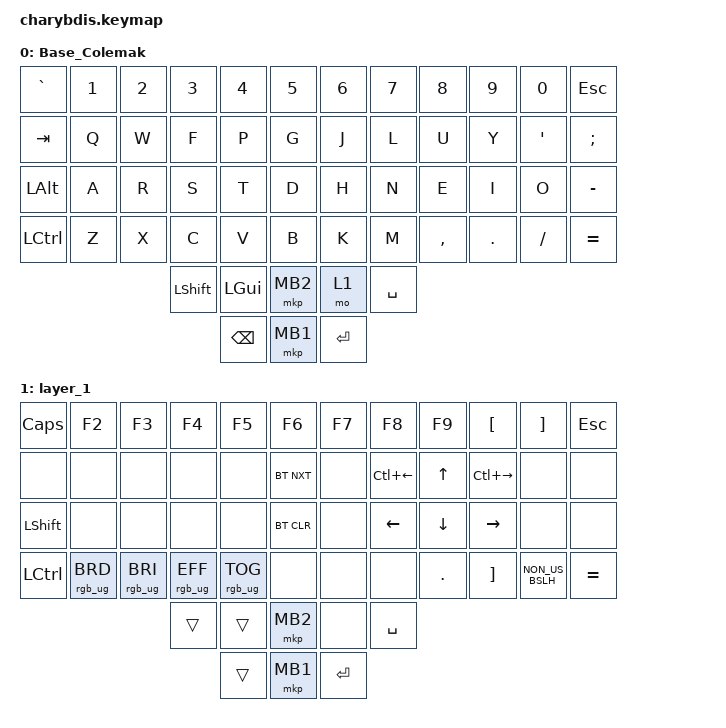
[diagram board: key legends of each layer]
#include <dt-bindings/zmk/mouse.h>
#include <behaviors.dtsi>
#include <dt-bindings/zmk/bt.h>
#include <dt-bindings/zmk/keys.h>
#include <dt-bindings/zmk/pointing.h>
#include <dt-bindings/zmk/rgb.h>

&lt {
    tapping-term-ms = <200>;
    flavor = "balanced";
    quick-tap-ms = <150>;
};

/ {
    keymap {
        compatible = "zmk,keymap";

        Base_Colemak {
            bindings = <
&kp GRAVE  &kp N1  &kp N2  &kp N3          &kp N4         &kp N5      &kp N6   &kp N7     &kp N8     &kp N9   &kp N0    &kp ESC
&kp TAB    &kp Q   &kp W   &kp F           &kp P          &kp G       &kp J    &kp L      &kp U      &kp Y    &kp SQT   &kp SEMICOLON
&kp LALT   &kp A   &kp R   &kp S           &kp T          &kp D       &kp H    &kp N      &kp E      &kp I    &kp O     &kp MINUS
&kp LCTRL  &kp Z   &kp X   &kp C           &kp V          &kp B       &kp K    &kp M      &kp COMMA  &kp DOT  &kp FSLH  &kp EQUAL
                           &kp LEFT_SHIFT  &kp LGUI       &mkp MB2    &mo 1    &kp SPACE
                                           &kp BACKSPACE  &mkp MB1    &kp RET
            >;

            trackball-bindings = <&tmv_coarse>;
        };

        layer_1 {
            bindings = <
&kp CAPS        &kp F2           &kp F3           &kp F4           &kp F5           &kp F6        &kp F7     &kp F8              &kp F9      &kp LEFT_BRACKET   &kp RIGHT_BRACKET  &kp ESC
&none           &none            &none            &none            &none            &bt BT_NXT    &none      &kp LC(LEFT_ARROW)  &kp UP      &kp LC(RIGHT)      &none              &none
&kp LEFT_SHIFT  &none            &none            &none            &none            &bt BT_CLR    &none      &kp LEFT            &kp DOWN    &kp RIGHT          &none              &none
&kp LCTRL       &rgb_ug RGB_BRD  &rgb_ug RGB_BRI  &rgb_ug RGB_EFF  &rgb_ug RGB_TOG  &none         &none      &none               &kp PERIOD  &kp RIGHT_BRACKET  &kp NON_US_BSLH    &kp EQUAL
                                                  &trans           &trans           &mkp MB2      &none      &kp SPACE
                                                                   &trans           &mkp MB1      &kp ENTER
            >;

            trackball-bindings = <&tmv_coarse>;
        };

        /* layer_2 {
            bindings = <
&none  &none   &none    &none   &none         &none         &kp N1         &none         &none     &none  &none   &to 0
&none  &none   &none    &none   &none         &none         &none         &none          &rgb_ug RGB_BRD &rgb_ug RGB_BRI  &rgb_ug RGB_EFF   &rgb_ug RGB_TOG
&none  &none   &none    &none   &none         &none         &none         &mkp LCLK     &mkp RCLK  &none  &none   &none
&none  &none   &none    &none   &bt BT_NXT  &bt BT_CLR    &none         &none         &none     &none  &none   &none
                                   &none         &none         &none         &none         &none
                                                 &none         &none         &none
            >;
          trackball-bindings = <&tsl>;
            
        };

       Mouse {
            bindings = <
&none        &none         &none         &none         &none      &none         &none       &none      &none         &none         &none         &none
&none        &bt BT_SEL 0  &bt BT_SEL 1  &bt BT_SEL 3  &none      &bt BT_CLR    &bt BT_CLR  &none      &bt BT_SEL 2  &bt BT_SEL 1  &bt BT_SEL 0  &none
&none        &trans        &trans        &mkp MCLK     &trans     &none         &none       &trans     &mkp MCLK     &trans        &trans        &none
&bootloader  &trans        &mkp RCLK     &mo 4         &mkp LCLK  &mo 5         &mo 5       &mkp LCLK  &mo 4         &mkp RCLK     &trans        &bootloader
                                         &mo 5         &mkp LCLK  &mkp RCLK     &mkp RCLK   &mkp LCLK
                                                       &none      &trans        &trans
            >;

            
        };

        layer_4 {
            bindings = <
&trans  &trans  &trans     &trans     &trans     &trans       &trans     &trans     &trans     &trans     &trans  &trans
&trans  &trans  &trans     &trans     &trans     &trans       &trans     &trans     &trans     &trans     &trans  &trans
&trans  &trans  &trans     &mkp MCLK  &trans     &trans       &trans     &trans     &mkp MCLK  &trans     &trans  &trans
&trans  &trans  &mkp RCLK  &trans     &mkp LCLK  &trans       &trans     &mkp LCLK  &trans     &mkp RCLK  &trans  &trans
                           &trans     &mkp LCLK  &mkp RCLK    &mkp RCLK  &mkp LCLK
                                      &trans     &trans       &trans
            >;
                
                
                trackball-bindings = <&tsl>;
        };

        layer_5 {
            bindings = <
&trans  &trans  &trans     &trans     &trans     &trans       &trans     &trans     &trans     &trans     &trans  &trans
&trans  &trans  &trans     &trans     &trans     &trans       &trans     &trans     &trans     &trans     &trans  &trans
&trans  &trans  &trans     &mkp MCLK  &trans     &trans       &trans     &trans     &mkp MCLK  &trans     &trans  &trans
&trans  &trans  &mkp RCLK  &trans     &mkp LCLK  &trans       &trans     &mkp LCLK  &trans     &mkp RCLK  &trans  &trans
                           &trans     &mkp LCLK  &mkp RCLK    &mkp RCLK  &mkp LCLK
                                      &trans     &trans       &trans
            >;
                trackball-bindings = <&tmv_fine>;
                
        };*/
    };
};
